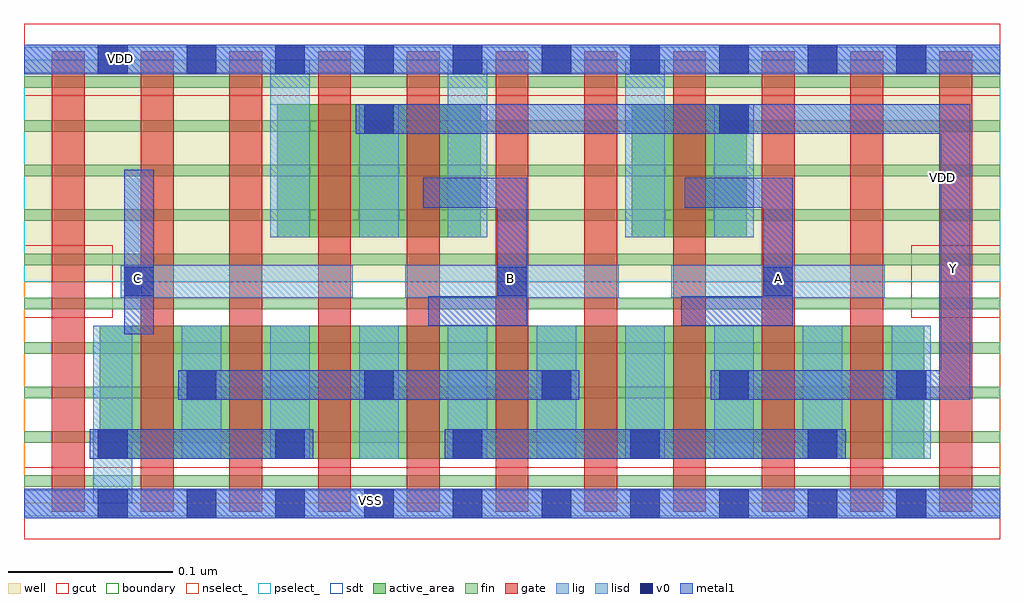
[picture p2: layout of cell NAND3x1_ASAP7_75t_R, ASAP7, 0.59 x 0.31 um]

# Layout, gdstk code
import gdstk
lib = gdstk.Library(unit=1e-6, precision=1e-09)
def R(c, l, rs):  # rectangles x0, y0, x1, y1
    for r in rs: c.add(gdstk.rectangle(r[:2], r[2:], *l))
def A(c, l, x, y, w, h, nx, ny, dx, dy):  # array of equal rectangles
    R(c, l, [(x+i*dx, y+j*dy, x+i*dx+w, y+j*dy+h) for i in range(nx) for j in range(ny)])
def P(c, l, *ps):  # polygons
    for p in ps: c.add(gdstk.Polygon(p, *l))
well = (1, 0)
fin = (2, 0)
gate = (7, 0)
gcut = (10, 0)
active_area = (11, 0)
nselect_ = (12, 0)
pselect_ = (13, 0)
lig = (16, 0)
lisd = (17, 0)
v0 = (18, 0)
metal1 = (19, 0)
sdt = (88, 0)
boundary = (100, 0)

nand3x1_asap7_75t_r = lib.new_cell('NAND3x1_ASAP7_75t_R')
R(nand3x1_asap7_75t_r, well, [(0,0.135,0.594,0.27)])
A(nand3x1_asap7_75t_r, fin, 0, 0.01, 0.594, 0.007, 1, 10, 0, 0.027)
A(nand3x1_asap7_75t_r, gate, 0.017, -0.005, 0.02, 0.28, 11, 1, 0.054, 0)
R(nand3x1_asap7_75t_r, gcut, [(0,-0.022,0.594,0.022), (0,0.113,0.054,0.157), (0.54,0.113,0.594,0.157), (0,0.248,0.594,0.292)])
R(nand3x1_asap7_75t_r, active_area, [(0.046,0.027,0.548,0.108), (0.154,0.162,0.278,0.243), (0.37,0.162,0.44,0.243)])
R(nand3x1_asap7_75t_r, nselect_, [(0,0,0.594,0.135)])
R(nand3x1_asap7_75t_r, pselect_, [(0,0.135,0.594,0.27)])
R(nand3x1_asap7_75t_r, lig, [(0,-0.008,0.594,0.008), (0.059,0.125,0.2,0.145), (0.232,0.125,0.362,0.145), (0.394,0.125,0.524,0.145), (0,0.262,0.594,0.278)])
A(nand3x1_asap7_75t_r, lisd, 0.096, 0.027, 0.024, 0.081, 9, 1, 0.054, 0)
A(nand3x1_asap7_75t_r, lisd, 0.15, 0.162, 0.024, 0.108, 3, 1, 0.108, 0)
R(nand3x1_asap7_75t_r, lisd, [(0.042,0,0.066,0.108), (0.204,0.162,0.228,0.243), (0.42,0.162,0.444,0.243)])
A(nand3x1_asap7_75t_r, v0, 0.045, -0.009, 0.018, 0.018, 10, 2, 0.054, 0.27)
A(nand3x1_asap7_75t_r, v0, 0.045, 0.027, 0.018, 0.018, 5, 1, 0.108, 0)
A(nand3x1_asap7_75t_r, v0, 0.099, 0.063, 0.018, 0.018, 5, 1, 0.108, 0)
R(nand3x1_asap7_75t_r, v0, [(0.061,0.126,0.079,0.144), (0.288,0.126,0.306,0.144), (0.45,0.126,0.468,0.144), (0.207,0.225,0.225,0.243), (0.423,0.225,0.441,0.243)])
R(nand3x1_asap7_75t_r, metal1, [(0,-0.009,0.594,0.009), (0.04,0.027,0.176,0.045), (0.256,0.027,0.5,0.045), (0.094,0.063,0.338,0.081), (0.061,0.103,0.079,0.203), (0,0.261,0.594,0.279)])
P(nand3x1_asap7_75t_r, metal1, [(0.246,0.108),(0.246,0.126),(0.288,0.126),(0.288,0.18),(0.243,0.18),(0.243,0.198),(0.306,0.198),(0.306,0.108)],
  [(0.418,0.063),(0.418,0.081),(0.558,0.081),(0.558,0.225),(0.202,0.225),(0.202,0.243),(0.576,0.243),(0.576,0.063)],
  [(0.4,0.108),(0.4,0.126),(0.45,0.126),(0.45,0.18),(0.402,0.18),(0.402,0.198),(0.468,0.198),(0.468,0.108)])
A(nand3x1_asap7_75t_r, sdt, 0.042, 0.027, 0.024, 0.081, 10, 1, 0.054, 0)
A(nand3x1_asap7_75t_r, sdt, 0.15, 0.162, 0.024, 0.081, 3, 1, 0.054, 0)
R(nand3x1_asap7_75t_r, sdt, [(0.366,0.162,0.39,0.243), (0.42,0.162,0.444,0.243)])
R(nand3x1_asap7_75t_r, boundary, [(0,0,0.594,0.27)])
nand3x1_asap7_75t_r.add(gdstk.Label('VSS', (0.211,0.002), layer=19, texttype=251))
nand3x1_asap7_75t_r.add(gdstk.Label('VDD', (0.059,0.271), layer=19, texttype=251))
nand3x1_asap7_75t_r.add(gdstk.Label('Y', (0.566,0.143), layer=19, texttype=251))
nand3x1_asap7_75t_r.add(gdstk.Label('C', (0.069,0.137), layer=19, texttype=251))
nand3x1_asap7_75t_r.add(gdstk.Label('B', (0.296,0.137), layer=19, texttype=251))
nand3x1_asap7_75t_r.add(gdstk.Label('A', (0.459,0.137), layer=19, texttype=251))
nand3x1_asap7_75t_r.add(gdstk.Label('VDD', (0.559,0.198), layer=1, texttype=251))
nand3x1_asap7_75t_r.add(gdstk.Label('VSS', (0.628,0.197), layer=3, texttype=251))

lib.write_gds('NAND3x1_ASAP7_75t_R.gds')
